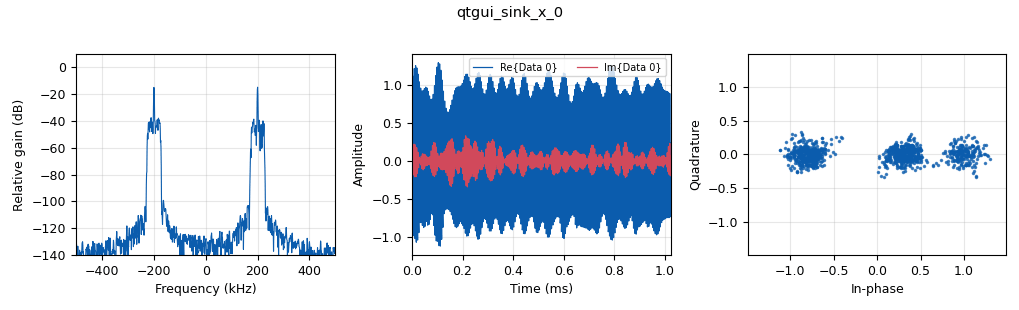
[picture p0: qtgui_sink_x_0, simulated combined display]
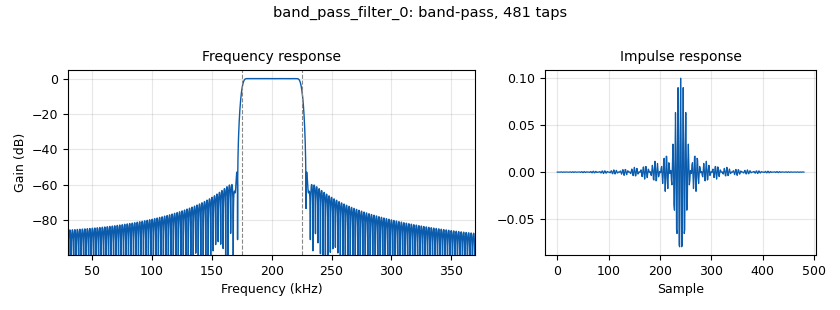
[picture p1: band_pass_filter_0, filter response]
options:
  parameters:
    generate_options: qt_gui
    id: power_test_03
    output_language: python
    title: Power Test with Filter
  states: {}

blocks:
- name: P_n
  id: variable
  parameters:
    value: noise_amp**2
  states: {}
- name: P_n_filtered
  id: variable
  parameters:
    value: noise_amp**2 * (2*f_width/samp_rate)
  states: {}
- name: f_width
  id: variable_qtgui_range
  parameters:
    gui_hint: 1,2,1,2
    label: Filter Width
    start: 2.5e4
    step: 5e3
    stop: 2.5e5
    value: 5e4
  states: {}
- name: filter_select
  id: variable_qtgui_chooser
  parameters:
    gui_hint: 1,0,1,1
    label: Filter Selection
    label0: Enable
    label1: Bypass
    num_opts: '2'
    option0: '0'
    option1: '1'
    type: int
    value: '0'
  states: {}
- name: ma_len
  id: variable_qtgui_range
  parameters:
    gui_hint: 1,1,1,1
    label: Moving Average Length
    rangeType: int
    start: '500'
    step: '500'
    stop: '10000'
    value: '1000'
  states: {}
- name: noise_amp
  id: variable_qtgui_range
  parameters:
    gui_hint: 0,3,1,1
    label: Noise Amplitude
    start: '0'
    step: '0.1'
    stop: '10'
    value: '0.5'
  states: {}
- name: samp_rate
  id: variable
  parameters:
    value: 1e6
  states: {}
- name: sig_amp
  id: variable_qtgui_range
  parameters:
    gui_hint: 0,2,1,1
    label: Signal Amplitude
    start: '0'
    step: '0.1'
    stop: '10'
    value: '1'
  states: {}
- name: sig_freq
  id: variable_qtgui_range
  parameters:
    gui_hint: 0,1,1,1
    label: Signal Frequency
    start: 1.5e5
    step: 2.5e4
    stop: 3.5e5
    value: 2e5
  states: {}
- name: sig_select
  id: variable_qtgui_chooser
  parameters:
    gui_hint: 0,0,1,1
    label: Signal Select
    label0: Real Sine
    label1: Complex Sine
    num_opts: '2'
    option0: '0'
    option1: '1'
    type: int
    value: '0'
  states: {}
- name: analog_const_source_x_0
  id: analog_const_source_x
  parameters:
    const: '0'
    type: float
  states: {}
- name: analog_const_source_x_0_0
  id: analog_const_source_x
  parameters:
    const: sig_amp**2/2 + sig_select*sig_amp**2/2 + filter_select*P_n + (1-filter_select)*P_n_filtered
    type: float
  states: {}
- name: analog_noise_source_x_0
  id: analog_noise_source_x
  parameters:
    amp: noise_amp
    noise_type: analog.GR_GAUSSIAN
    seed: '0'
    type: complex
  states: {}
- name: analog_sig_source_x_0
  id: analog_sig_source_x
  parameters:
    amp: sig_amp
    freq: sig_freq
    offset: '0'
    phase: '0'
    samp_rate: samp_rate
    type: complex
    waveform: analog.GR_COS_WAVE
  states: {}
- name: analog_sig_source_x_0_0
  id: analog_sig_source_x
  parameters:
    amp: sig_amp
    freq: sig_freq
    offset: '0'
    phase: '0'
    samp_rate: samp_rate
    type: float
    waveform: analog.GR_COS_WAVE
  states: {}
- name: band_pass_filter_0
  id: band_pass_filter
  parameters:
    decim: '1'
    gain: '1'
    high_cutoff_freq: sig_freq + f_width/2
    low_cutoff_freq: sig_freq - f_width/2
    samp_rate: samp_rate
    type: fir_filter_ccf
    width: 5e3
    win: window.WIN_HAMMING
  states: {}
- name: blocks_add_xx_0
  id: blocks_add_xx
  parameters:
    type: complex
  states: {}
- name: blocks_float_to_complex_0
  id: blocks_float_to_complex
  parameters: {}
  states: {}
- name: blocks_selector_0
  id: blocks_selector
  parameters:
    enabled: 'True'
    input_index: sig_select
    num_inputs: '2'
    num_outputs: '1'
    output_index: '0'
    type: complex
  states: {}
- name: blocks_selector_0_0
  id: blocks_selector
  parameters:
    enabled: 'True'
    input_index: filter_select
    num_inputs: '2'
    num_outputs: '1'
    output_index: '0'
    type: complex
  states: {}
- name: blocks_throttle2_0
  id: blocks_throttle2
  parameters:
    samples_per_second: samp_rate
    type: complex
  states: {}
- name: power_calc_HB_0
  id: power_calc_HB
  parameters:
    ma_len: ma_len
  states: {}
- name: qtgui_number_sink_0
  id: qtgui_number_sink
  parameters:
    graph_type: qtgui.NUM_GRAPH_VERT
    gui_hint: 2,3,3,1
    label1: Observed Power
    label2: Calculated Power
    max: '10'
    min: '0'
    name: '"Power"'
    nconnections: '2'
    type: float
  states: {}
- name: qtgui_sink_x_0
  id: qtgui_sink_x
  parameters:
    bw: samp_rate
    fc: '0'
    fftsize: '1024'
    gui_hint: 2,0,3,3
    type: complex
  states: {}

connections:
- [analog_const_source_x_0, '0', blocks_float_to_complex_0, '1']
- [analog_const_source_x_0_0, '0', qtgui_number_sink_0, '1']
- [analog_noise_source_x_0, '0', blocks_add_xx_0, '0']
- [analog_sig_source_x_0, '0', blocks_selector_0, '1']
- [analog_sig_source_x_0_0, '0', blocks_float_to_complex_0, '0']
- [band_pass_filter_0, '0', blocks_selector_0_0, '0']
- [blocks_add_xx_0, '0', blocks_throttle2_0, '0']
- [blocks_float_to_complex_0, '0', blocks_selector_0, '0']
- [blocks_selector_0, '0', blocks_add_xx_0, '1']
- [blocks_selector_0_0, '0', power_calc_HB_0, '0']
- [blocks_selector_0_0, '0', qtgui_sink_x_0, '0']
- [blocks_throttle2_0, '0', band_pass_filter_0, '0']
- [blocks_throttle2_0, '0', blocks_selector_0_0, '1']
- [power_calc_HB_0, '0', qtgui_number_sink_0, '0']

metadata:
  file_format: 1
  grc_version: 3.10.12.0
